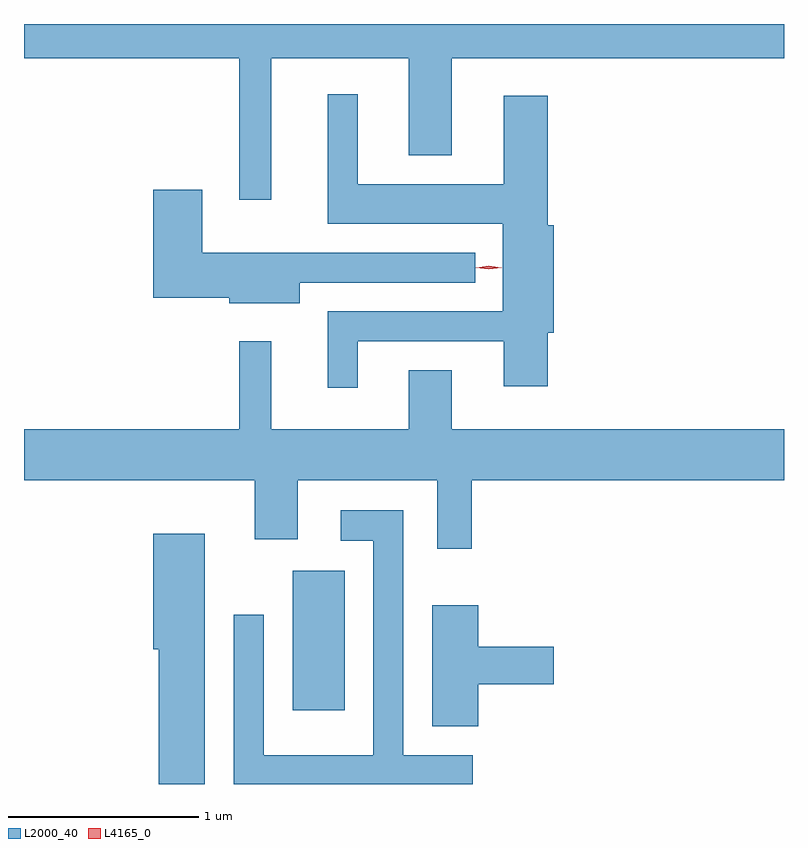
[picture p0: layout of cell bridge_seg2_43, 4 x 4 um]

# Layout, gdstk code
import gdstk
lib = gdstk.Library(unit=1e-6, precision=1e-09)
def R(c, l, rs):  # rectangles x0, y0, x1, y1
    for r in rs: c.add(gdstk.rectangle(r[:2], r[2:], *l))
def P(c, l, *ps):  # polygons
    for p in ps: c.add(gdstk.Polygon(p, *l))
L2000_40 = (2000, 40)
L4165_0 = (4165, 0)

bridge_seg2_43 = lib.new_cell('bridge_seg2_43')
R(bridge_seg2_43, L2000_40, [(1269.021,1058.206,1269.294,1058.939)])
P(bridge_seg2_43, L2000_40, [(1268.909,1061.636),(1269.631,1061.636),(1269.631,1061.126),(1269.859,1061.126),(1269.859,1061.636),(1271.607,1061.636),(1271.607,1061.817),(1267.607,1061.817),(1267.607,1061.636),(1268.741,1061.636),(1268.741,1060.893),(1268.909,1060.893)],
  [(1269.364,1060.146),(1270.131,1060.146),(1270.131,1059.911),(1270.364,1059.911),(1270.364,1060.191),(1270.394,1060.191),(1270.394,1060.759),(1270.364,1060.759),(1270.364,1061.439),(1270.131,1061.439),(1270.131,1060.974),(1269.364,1060.974),(1269.364,1061.448),(1269.206,1061.448),(1269.206,1060.766),(1270.126,1060.766),(1270.126,1060.304),(1269.206,1060.304),(1269.206,1059.903),(1269.364,1059.903)],
  [(1269.059,1060.456),(1269.983,1060.456),(1269.983,1060.614),(1268.544,1060.614),(1268.544,1060.944),(1268.286,1060.944),(1268.286,1060.376),(1268.686,1060.376),(1268.686,1060.346),(1269.059,1060.346)],
  [(1269.964,1059.416),(1271.607,1059.416),(1271.607,1059.684),(1269.859,1059.684),(1269.859,1059.994),(1269.631,1059.994),(1269.631,1059.684),(1268.909,1059.684),(1268.909,1060.148),(1268.741,1060.148),(1268.741,1059.684),(1267.607,1059.684),(1267.607,1059.416),(1268.821,1059.416),(1268.821,1059.106),(1269.049,1059.106),(1269.049,1059.416),(1269.781,1059.416),(1269.781,1059.056),(1269.964,1059.056)],
  [(1269.969,1057.969),(1269.604,1057.969),(1269.604,1059.259),(1269.273,1059.259),(1269.273,1059.096),(1269.446,1059.096),(1269.446,1057.969),(1268.869,1057.969),(1268.869,1058.708),(1268.711,1058.708),(1268.711,1057.817),(1269.969,1057.817)],
  [(1268.559,1059.134),(1268.286,1059.134),(1268.286,1058.526),(1268.316,1058.526),(1268.316,1057.817),(1268.559,1057.817)],
  [(1269.999,1058.341),(1270.394,1058.341),(1270.394,1058.539),(1269.999,1058.539),(1269.999,1058.759),(1269.756,1058.759),(1269.756,1058.121),(1269.999,1058.121)])
P(bridge_seg2_43, L4165_0, [(1270.053,1060.525),(1269.984,1060.534),(1269.984,1060.535),(1269.984,1060.535),(1270.053,1060.545),(1270.121,1060.535),(1270.122,1060.534),(1270.121,1060.534)],
  [(1270.052,1060.525),(1269.987,1060.534),(1269.987,1060.535),(1269.987,1060.535),(1270.052,1060.545),(1270.117,1060.535),(1270.117,1060.535),(1270.117,1060.534)])

lib.write_gds('bridge_seg2_43.gds')
